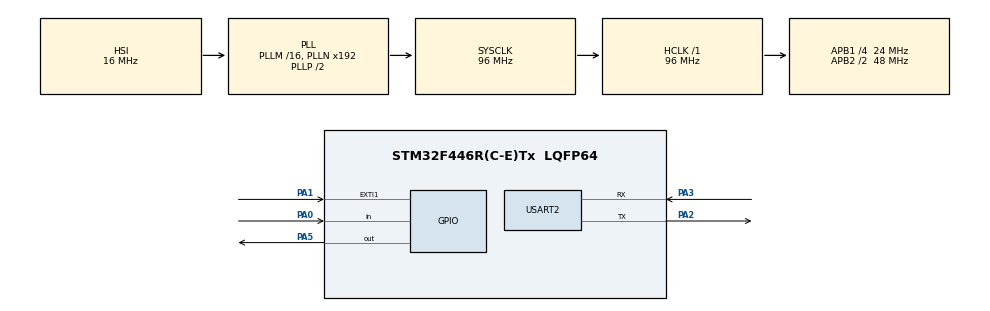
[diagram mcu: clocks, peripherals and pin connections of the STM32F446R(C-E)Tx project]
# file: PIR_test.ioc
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Mcu.Family=STM32F4
Mcu.Name=STM32F446R(C-E)Tx
Mcu.Package=LQFP64
NVIC.EXTI1_IRQn=true\:0\:0\:false\:false\:true\:true\:true
NVIC.PriorityGroup=NVIC_PRIORITYGROUP_4
PA0-WKUP.Signal=GPIO_Input
PA1.Signal=GPXTI1
PA13.Mode=Serial_Wire
PA13.Signal=SYS_JTMS-SWDIO
PA14.Mode=Serial_Wire
PA14.Signal=SYS_JTCK-SWCLK
PA2.Mode=Asynchronous
PA2.Signal=USART2_TX
PA3.Mode=Asynchronous
PA3.Signal=USART2_RX
PA5.PinState=GPIO_PIN_SET
PA5.Signal=GPIO_Output
ProjectManager.HeapSize=0x200
ProjectManager.StackSize=0x400
ProjectManager.TargetToolchain=STM32CubeIDE
RCC.AHBFreq_Value=96000000
RCC.APB1CLKDivider=RCC_HCLK_DIV4
RCC.APB1Freq_Value=24000000
RCC.APB1TimFreq_Value=48000000
RCC.APB2CLKDivider=RCC_HCLK_DIV2
RCC.APB2Freq_Value=48000000
RCC.APB2TimFreq_Value=96000000
RCC.CortexFreq_Value=96000000
RCC.HCLKFreq_Value=96000000
RCC.SYSCLKFreq_VALUE=96000000
RCC.SYSCLKSource=RCC_SYSCLKSOURCE_PLLCLK
RCC.USBFreq_Value=96000000
RCC.VCOOutputFreq_Value=192000000
USART2.VirtualMode=VM_ASYNC
board=custom

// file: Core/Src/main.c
/* USER CODE BEGIN Header */
/**
  ******************************************************************************
  * @file           : main.c
  * @brief          : Main program body
  ******************************************************************************
  * @attention
  *
  * <h2><center>&copy; Copyright (c) 2020 STMicroelectronics.
  * All rights reserved.</center></h2>
  *
  * This software component is licensed by ST under BSD 3-Clause license,
  * the "License"; You may not use this file except in compliance with the
  * License. You may obtain a copy of the License at:
  *                        opensource.org/licenses/BSD-3-Clause
  *
  ******************************************************************************
  */
/* USER CODE END Header */

#include "main.h"

/* USER CODE BEGIN Includes */
#include "stm32f4xx_hal.h"
#include "dwt_stm32_delay.h"
#include "pyd1698.h"
/* USER CODE END Includes */

UART_HandleTypeDef huart2;

/* USER CODE BEGIN PV */
int tick_counter;
uint8_t motion_detected;
/* USER CODE END PV */

void SystemClock_Config(void);
static void MX_GPIO_Init(void);
static void MX_USART2_UART_Init(void);

/* USER CODE BEGIN 0 */
void HAL_SYSTICK_Callback(void){
	tick_counter++;
}
/* USER CODE END 0 */

int main(void)
{

  /* MCU Configuration--------------------------------------------------------*/

  /* Reset of all peripherals, Initializes the Flash interface and the Systick. */
  HAL_Init();

  /* Configure the system clock */
  SystemClock_Config();

  /* Initialize all configured peripherals */
  MX_GPIO_Init();
  MX_USART2_UART_Init();
  /* USER CODE BEGIN 2 */
  if(DWT_Delay_Init())
  {
	  Error_Handler(); /* Call Error Handler */
  }
  if(pir_init())
  {
//  	  Error_Handler(); /* Call Error Handler */
  }

  pir_clear_int();
  HAL_GPIO_WritePin(GPIOA, GPIO_PIN_5, GPIO_PIN_RESET);
  /* USER CODE END 2 */

  /* Infinite loop */
  while (1)
  {

    /* USER CODE BEGIN 3 */
//	  HAL_GPIO_TogglePin(GPIOA, GPIO_PIN_5);

//	  DWT_Delay_us(10000000);
	  if(motion_detected)
	  {
		  motion_detected = 0;
		  pir_clear_int();
		  HAL_GPIO_WritePin(GPIOA, GPIO_PIN_5, GPIO_PIN_SET);
		  HAL_Delay(500);
		  HAL_GPIO_WritePin(GPIOA, GPIO_PIN_5, GPIO_PIN_RESET);

	  }
//	  HAL_Delay(1000);
  }
  /* USER CODE END 3 */
}

void SystemClock_Config(void)
{
  RCC_OscInitTypeDef RCC_OscInitStruct = {0};
  RCC_ClkInitTypeDef RCC_ClkInitStruct = {0};

  /** Configure the main internal regulator output voltage
  */
  __HAL_RCC_PWR_CLK_ENABLE();
  __HAL_PWR_VOLTAGESCALING_CONFIG(PWR_REGULATOR_VOLTAGE_SCALE3);
  /** Initializes the CPU, AHB and APB busses clocks
  */
  RCC_OscInitStruct.OscillatorType = RCC_OSCILLATORTYPE_HSI;
  RCC_OscInitStruct.HSIState = RCC_HSI_ON;
  RCC_OscInitStruct.HSICalibrationValue = RCC_HSICALIBRATION_DEFAULT;
  RCC_OscInitStruct.PLL.PLLState = RCC_PLL_ON;
  RCC_OscInitStruct.PLL.PLLSource = RCC_PLLSOURCE_HSI;
  RCC_OscInitStruct.PLL.PLLM = 16;
  RCC_OscInitStruct.PLL.PLLN = 192;
  RCC_OscInitStruct.PLL.PLLP = RCC_PLLP_DIV2;
  RCC_OscInitStruct.PLL.PLLQ = 2;
  RCC_OscInitStruct.PLL.PLLR = 2;
  if (HAL_RCC_OscConfig(&RCC_OscInitStruct) != HAL_OK)
  {
    Error_Handler();
  }
  /** Initializes the CPU, AHB and APB busses clocks
  */
  RCC_ClkInitStruct.ClockType = RCC_CLOCKTYPE_HCLK|RCC_CLOCKTYPE_SYSCLK
                              |RCC_CLOCKTYPE_PCLK1|RCC_CLOCKTYPE_PCLK2;
  RCC_ClkInitStruct.SYSCLKSource = RCC_SYSCLKSOURCE_PLLCLK;
  RCC_ClkInitStruct.AHBCLKDivider = RCC_SYSCLK_DIV1;
  RCC_ClkInitStruct.APB1CLKDivider = RCC_HCLK_DIV4;
  RCC_ClkInitStruct.APB2CLKDivider = RCC_HCLK_DIV2;

  if (HAL_RCC_ClockConfig(&RCC_ClkInitStruct, FLASH_LATENCY_3) != HAL_OK)
  {
    Error_Handler();
  }
}

static void MX_USART2_UART_Init(void)
{

  huart2.Instance = USART2;
  huart2.Init.BaudRate = 115200;
  huart2.Init.WordLength = UART_WORDLENGTH_8B;
  huart2.Init.StopBits = UART_STOPBITS_1;
  huart2.Init.Parity = UART_PARITY_NONE;
  huart2.Init.Mode = UART_MODE_TX_RX;
  huart2.Init.HwFlowCtl = UART_HWCONTROL_NONE;
  huart2.Init.OverSampling = UART_OVERSAMPLING_16;
  if (HAL_UART_Init(&huart2) != HAL_OK)
  {
    Error_Handler();
  }

}

static void MX_GPIO_Init(void)
{
  GPIO_InitTypeDef GPIO_InitStruct = {0};

  /* GPIO Ports Clock Enable */
  __HAL_RCC_GPIOA_CLK_ENABLE();

  /*Configure GPIO pin Output Level */
  HAL_GPIO_WritePin(GPIOA, GPIO_PIN_5, GPIO_PIN_SET);

  /*Configure GPIO pin : PA0 */
  GPIO_InitStruct.Pin = GPIO_PIN_0;
  GPIO_InitStruct.Mode = GPIO_MODE_INPUT;
  GPIO_InitStruct.Pull = GPIO_NOPULL;
  HAL_GPIO_Init(GPIOA, &GPIO_InitStruct);

  /*Configure GPIO pin : PA1 */
  GPIO_InitStruct.Pin = GPIO_PIN_1;
  GPIO_InitStruct.Mode = GPIO_MODE_IT_RISING;
  GPIO_InitStruct.Pull = GPIO_NOPULL;
  HAL_GPIO_Init(GPIOA, &GPIO_InitStruct);

  /*Configure GPIO pin : PA5 */
  GPIO_InitStruct.Pin = GPIO_PIN_5;
  GPIO_InitStruct.Mode = GPIO_MODE_OUTPUT_PP;
  GPIO_InitStruct.Pull = GPIO_NOPULL;
  GPIO_InitStruct.Speed = GPIO_SPEED_FREQ_LOW;
  HAL_GPIO_Init(GPIOA, &GPIO_InitStruct);

  /* EXTI interrupt init*/
  HAL_NVIC_SetPriority(EXTI1_IRQn, 0, 0);
  HAL_NVIC_EnableIRQ(EXTI1_IRQn);

}

/* USER CODE BEGIN 4 */

/**
  * @brief  EXTI line detection callbacks.
  * @param  GPIO_Pin Specifies the pins connected EXTI line
  * @retval None
  */
void HAL_GPIO_EXTI_Callback(uint16_t GPIO_Pin)
{
  /* Prevent unused argument(s) compilation warning */
  UNUSED(GPIO_Pin);
  motion_detected = 1;
  HAL_GPIO_WritePin(GPIOA, GPIO_PIN_5, GPIO_PIN_SET);
}

/* USER CODE END 4 */

void Error_Handler(void)
{
	static err_cnt = 0;
  /* USER CODE BEGIN Error_Handler_Debug */
  /* User can add his own implementation to report the HAL error return state */
	err_cnt++;
  /* USER CODE END Error_Handler_Debug */
}

/************************ (C) COPYRIGHT STMicroelectronics *****END OF FILE****/
